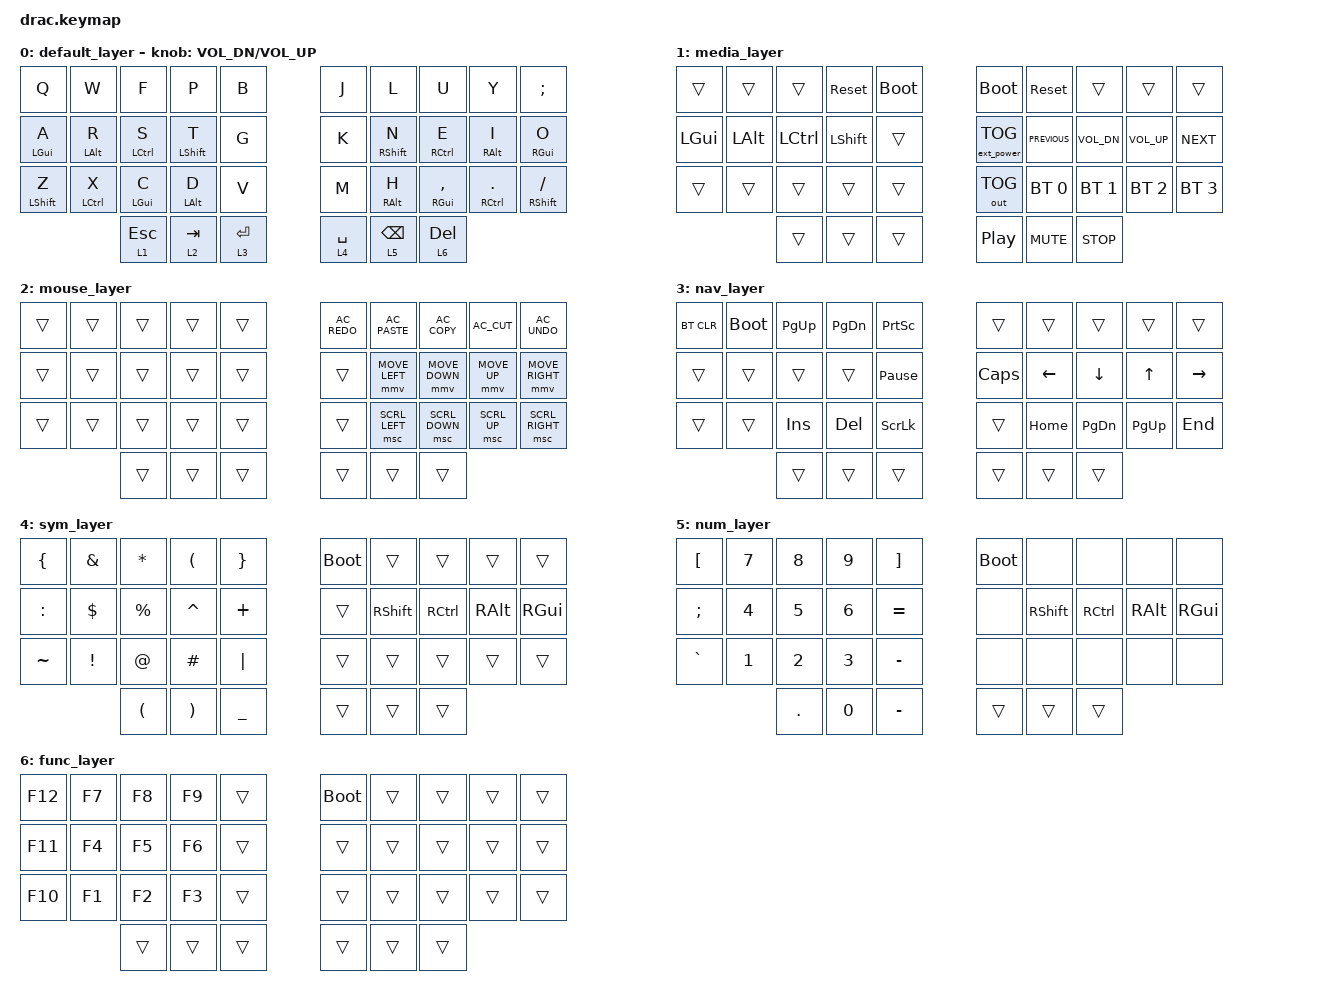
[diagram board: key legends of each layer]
#include <behaviors.dtsi>
#include <dt-bindings/zmk/bt.h>
#include <dt-bindings/zmk/ext_power.h>
#include <dt-bindings/zmk/keys.h>
#include <dt-bindings/zmk/outputs.h>
#include <dt-bindings/zmk/mouse.h>

&mt {
    tapping-term-ms = <200>;
    flavor = "tap-preferred";
};

&lt {
    tapping-term-ms = <200>;
    flavor = "tap-preferred";
};


/ {
    combos {
        compatible = "zmk,combos";

        escape-er {
            bindings = <&kp ESCAPE>;
            key-positions = <10 11>;
        };

        IO-apostrophe {
            bindings = <&kp APOSTROPHE>;
            key-positions = <18 19>;
        };
    };

    keymap {
        compatible = "zmk,keymap";

        default_layer {
            bindings = <
&kp Q           &kp W           &kp F        &kp P             &kp B        &kp J        &kp L            &kp U           &kp Y            &kp SEMICOLON
&mt LEFT_GUI A  &mt LEFT_ALT R  &mt LCTRL S  &mt LEFT_SHIFT T  &kp G        &kp K        &mt RSHIFT N     &mt RCTRL E     &mt RIGHT_ALT I  &mt RIGHT_GUI O
&mt LSHFT Z     &mt LCTRL X     &mt LGUI C   &mt LALT D        &kp V        &kp M        &mt RALT H       &mt RGUI COMMA  &mt RCTRL DOT    &mt RSHFT FSLH
                                &lt 1 ESC    &lt 2 TAB         &lt 3 ENTER  &lt 4 SPACE  &lt 5 BACKSPACE  &lt 6 DELETE
            >;

            sensor-bindings = <&inc_dec_kp C_VOL_DN C_VOL_UP>;
        };

        media_layer {
            bindings = <
&trans        &trans        &trans     &sys_reset      &bootloader  &bootloader        &sys_reset      &trans        &trans        &trans
&kp LEFT_GUI  &kp LEFT_ALT  &kp LCTRL  &kp LEFT_SHIFT  &trans       &ext_power EP_TOG  &kp C_PREVIOUS  &kp C_VOL_DN  &kp C_VOL_UP  &kp C_NEXT
&trans        &trans        &trans     &trans          &trans       &out OUT_TOG       &bt BT_SEL 0    &bt BT_SEL 1  &bt BT_SEL 2  &bt BT_SEL 3
                            &trans     &trans          &trans       &kp C_PP           &kp C_MUTE      &kp C_STOP
            >;
        };

        mouse_layer {
            bindings = <
&trans  &trans  &trans  &trans  &trans  &kp C_AC_REDO  &kp C_AC_PASTE    &kp C_AC_COPY     &kp C_AC_CUT    &kp C_AC_UNDO
&trans  &trans  &trans  &trans  &trans  &trans         &mmv MOVE_LEFT    &mmv MOVE_DOWN    &mmv MOVE_UP    &mmv MOVE_RIGHT
&trans  &trans  &trans  &trans  &trans  &trans         &msc SCRL_LEFT    &msc SCRL_DOWN    &msc SCRL_UP    &msc SCRL_RIGHT
                &trans  &trans  &trans  &trans  &trans  &trans//&mkp MB1       &mkp MB2          &mkp MB3
            >;
        };

        nav_layer {
            bindings = <
&bt BT_CLR  &bootloader  &kp PG_UP  &kp PG_DN  &kp PSCRN        &trans        &trans    &trans         &trans     &trans
&trans      &trans       &trans     &trans     &kp PAUSE_BREAK  &kp CAPSLOCK  &kp LEFT  &kp DOWN       &kp UP     &kp RIGHT
&trans      &trans       &kp INS    &kp DEL    &kp SLCK         &trans        &kp HOME  &kp PAGE_DOWN  &kp PG_UP  &kp END
                         &trans     &trans     &trans           &trans        &trans    &trans
            >;
        };

        sym_layer {
            bindings = <
&kp LEFT_BRACE  &kp AMPERSAND    &kp STAR              &kp LEFT_PARENTHESIS   &kp RIGHT_BRACE  &bootloader  &trans           &trans     &trans         &trans
&kp COLON       &kp DOLLAR       &kp PERCENT           &kp CARET              &kp PLUS         &trans       &kp RIGHT_SHIFT  &kp RCTRL  &kp RIGHT_ALT  &kp RIGHT_GUI
&kp TILDE       &kp EXCLAMATION  &kp AT_SIGN           &kp HASH               &kp PIPE         &trans       &trans           &trans     &trans         &trans
                                 &kp LEFT_PARENTHESIS  &kp RIGHT_PARENTHESIS  &kp UNDERSCORE   &trans       &trans           &trans
            >;
        };

        num_layer {
            bindings = <
&kp LEFT_BRACKET   &kp N7  &kp N8   &kp N9    &kp RIGHT_BRACKET  &bootloader  &none            &none              &none          &none
&kp SEMICOLON  &kp N4  &kp N5   &kp N6        &kp EQUAL   &none        &kp RIGHT_SHIFT  &kp RIGHT_CONTROL  &kp RIGHT_ALT  &kp RIGHT_GUI
&kp GRAVE      &kp N1  &kp N2   &kp N3        &kp MINUS   &none        &none            &none              &none          &none
                       &kp DOT  &kp NUMBER_0  &kp MINUS   &trans       &trans           &trans
            >;
        };

        func_layer {
            bindings = <
&kp F12  &kp F7  &kp F8  &kp F9  &trans  &bootloader  &trans  &trans  &trans  &trans
&kp F11  &kp F4  &kp F5  &kp F6  &trans  &trans       &trans  &trans  &trans  &trans
&kp F10  &kp F1  &kp F2  &kp F3  &trans  &trans       &trans  &trans  &trans  &trans
                 &trans  &trans  &trans  &trans       &trans  &trans
            >;
        };
    };
};
